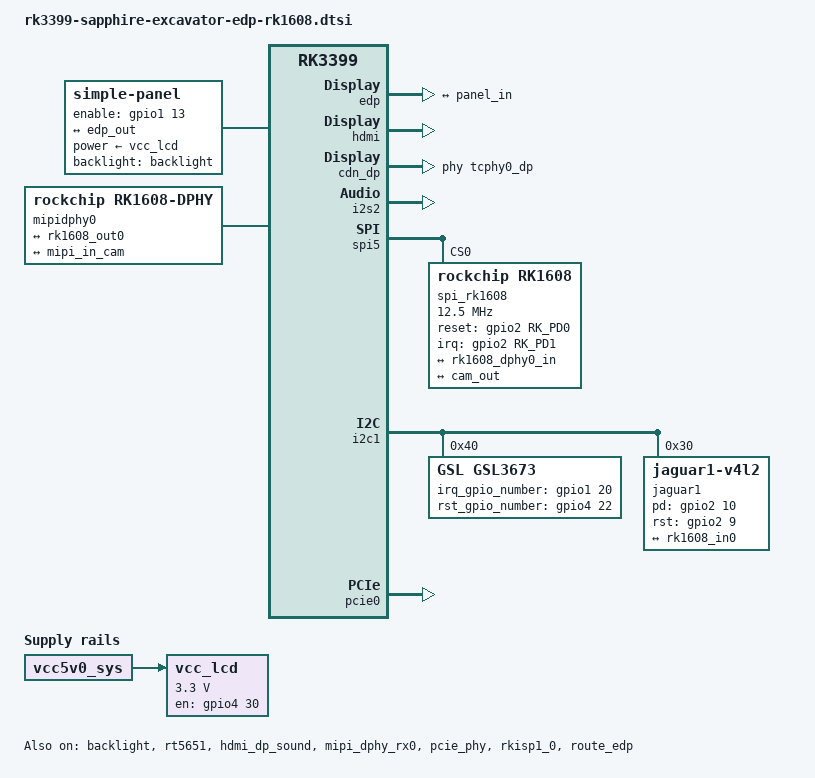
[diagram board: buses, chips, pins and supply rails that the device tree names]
// SPDX-License-Identifier: (GPL-2.0+ OR MIT)
/*
 * Copyright (c) 2019 Fuzhou Rockchip Electronics Co., Ltd.
 */

/dts-v1/;

#include "rk3399-excavator-sapphire.dtsi"
#include "rk3399-android.dtsi"
#include "rk3399-vop-clk-set.dtsi"

#define LINK_FREQ		375000000

/ {
	vcc_lcd: vcc-lcd {
		compatible = "regulator-fixed";
		regulator-name = "vcc_lcd";
		gpio = <&gpio4 30 GPIO_ACTIVE_HIGH>;
		startup-delay-us = <20000>;
		enable-active-high;
		regulator-min-microvolt = <3300000>;
		regulator-max-microvolt = <3300000>;
		regulator-boot-on;
		vin-supply = <&vcc5v0_sys>;
	};

	panel: panel {
		compatible = "simple-panel";
		backlight = <&backlight>;
		power-supply = <&vcc_lcd>;
		enable-gpios = <&gpio1 13 GPIO_ACTIVE_HIGH>;
		prepare-delay-ms = <20>;
		enable-delay-ms = <20>;

		display-timings {
			native-mode = <&timing0>;

			timing0: timing0 {
				clock-frequency = <200000000>;
				hactive = <1536>;
				vactive = <2048>;
				hfront-porch = <12>;
				hsync-len = <16>;
				hback-porch = <48>;
				vfront-porch = <8>;
				vsync-len = <4>;
				vback-porch = <8>;
				hsync-active = <0>;
				vsync-active = <0>;
				de-active = <0>;
				pixelclk-active = <0>;
			};
		};

		ports {
			panel_in: endpoint {
				remote-endpoint = <&edp_out>;
			};
		};
	};

	test-power {
		status = "okay";
	};

	rt5651-sound {
		status = "disabled";
	};

	hdmiin-sound {
		compatible = "rockchip,rockchip-rt5651-tc358749x-sound";
		rockchip,cpu = <&i2s0>;
		rockchip,codec = <&rt5651 &rt5651 &tc358749x>;
		status = "okay";
	};

	mipidphy0: mipidphy0 {
		compatible =  "rockchip,rk1608-dphy";
		status = "okay";
		rockchip,grf = <&grf>;
		id = <0>;
		cam_nums = <1>;
		in_mipi = <0>;
		out_mipi = <0>;
		link-freqs = /bits/ 64 <LINK_FREQ>;
		sensor_i2c_bus = <6>;
		sensor_i2c_addr = <0x1A>;
		sensor-name = "JASDAR";
		rockchip,camera-module-index = <0>;
		rockchip,camera-module-facing = "back";
		rockchip,camera-module-name = "PREISP";
		rockchip,camera-module-lens-name = "PREISP";

		format-config-0 {
			data_type = <0x1e>;
			mipi_lane = <4>;
			field = <1>;
			colorspace = <8>;
			code = <MEDIA_BUS_FMT_YVYU8_2X8>;
			width = <2560>;
			height= <1440>;

			hactive = <5120>;
			vactive = <1440>;
			htotal = <5800>;
			vtotal = <1800>;
			inch0-info = <2560 720 0x1e 0x2a 0x0F>;
			inch1-info = <2560 720 0x5e 0x2a 0x0F>;
			inch2-info = <2560 720 0x9e 0x2a 0x0F>;
			inch3-info = <2560 720 0xde 0x2a 0x0F>;
			outch0-info = <5120 1440 0x1e 0x2a 1>;
		};

		ports {
			#address-cells = <1>;
			#size-cells = <0>;
			port@0 {
				rk1608_dphy0_in: endpoint {
					remote-endpoint = <&rk1608_out0>;
				};
			};
			port@1 {
				rk1608_dphy_out: endpoint {
					remote-endpoint = <&mipi_in_cam>;
					clock-lanes = <0>;
					data-lanes = <1 2 3 4>;
					clock-noncontinuous;
					link-frequencies =
						/bits/ 64 <LINK_FREQ>;
				};
			};
		};
	};
};

&backlight {
	status = "okay";
	enable-gpios = <&gpio4 29 GPIO_ACTIVE_HIGH>;
};

&edp {
	status = "okay";
	force-hpd;

	ports {
		port@1 {
			reg = <1>;

			edp_out: endpoint {
				remote-endpoint = <&panel_in>;
			};
		};
	};
};

&edp_in_vopl {
	status = "disabled";
};

&hdmi {
	status = "okay";
};

&hdmi_in_vopb {
	status = "disabled";
};

&rt5651 {
	status = "okay";
};

&cdn_dp {
	status = "okay";
	extcon = <&fusb0>;
	phys = <&tcphy0_dp>;
};

&hdmi_dp_sound {
	status = "okay";
};

&dp_in_vopb {
	status = "disabled";
};

&i2s2 {
	status = "okay";
};

&spi5 {
	status = "okay";
	max-freq = <50000000>;
	pinctrl-names = "default";
	pinctrl-0 = <&spi5_clk &spi5_tx &spi5_rx &spi5_cs0>;

	spi_rk1608@00 {
		compatible =  "rockchip,rk1608";
		status = "okay";
		reg = <0>;
		spi-max-frequency = <12500000>;
		spi-min-frequency = <06250000>;

		clocks = <&cru SCLK_CIF_OUT>;
		clock-names = "mclk";

		firmware-names = "preisp_4in1.rkl";

		reset-gpios = <&gpio2 RK_PD0 GPIO_ACTIVE_HIGH>;
		irq-gpios = <&gpio2 RK_PD1 GPIO_ACTIVE_HIGH>;

		pinctrl-names = "default";
		pinctrl-0 = <&preisp_irq_gpios &preisp_reset_gpios>;

		power-domains = <&power RK3399_PD_SDIOAUDIO>;
		ports {
			#address-cells = <1>;
			#size-cells = <0>;
			port@0 {
				#address-cells = <1>;
				#size-cells = <0>;

				reg = <0>;
				rk1608_out0: endpoint@0 {
					reg = <0>;
					remote-endpoint = <&rk1608_dphy0_in>;
				};
			};

			port@1 {
				#address-cells = <1>;
				#size-cells = <0>;

				reg = <1>;
				rk1608_in0: endpoint@0 {
					reg = <0>;
					remote-endpoint = <&cam_out>;
				};
			};
		};
	};
};

&i2c1 {
	status = "okay";

	gsl3673: gsl3673@40 {
		compatible = "GSL,GSL3673";
		reg = <0x40>;
		screen_max_x = <1536>;
		screen_max_y = <2048>;
		irq_gpio_number = <&gpio1 20 IRQ_TYPE_LEVEL_LOW>;
		rst_gpio_number = <&gpio4 22 GPIO_ACTIVE_HIGH>;
	};

	tc358749x: tc358749x@0f {
		compatible = "toshiba,tc358749x";
		reg = <0x0f>;
		power-gpios = <&gpio2 6 GPIO_ACTIVE_HIGH>;
		power18-gpios = <&gpio2 9 GPIO_ACTIVE_HIGH>;
		power33-gpios = <&gpio2 5 GPIO_ACTIVE_HIGH>;
		csi-ctl-gpios = <&gpio2 10 GPIO_ACTIVE_HIGH>;
		stanby-gpios = <&gpio2 8 GPIO_ACTIVE_HIGH>;
		reset-gpios = <&gpio2 7 GPIO_ACTIVE_HIGH>;
		int-gpios = <&gpio2 12 GPIO_ACTIVE_HIGH>;
		pinctrl-names = "default";
		pinctrl-0 = <&hdmiin_gpios>;
		status = "disabled";
	};

	jaguar1: jaguar1@30 {
		compatible = "jaguar1-v4l2";
		status = "okay";
		reg = <0x30>;
		clocks = <&cru SCLK_CIF_OUT>;
		clock-names = "xvclk";
		pd-gpios = <&gpio2 10 GPIO_ACTIVE_HIGH>; // conflict with csi-ctl-gpios
		rst-gpios = <&gpio2 9 GPIO_ACTIVE_HIGH>;
		rockchip,camera-module-index = <0>;
		rockchip,camera-module-facing = "back";
		rockchip,camera-module-name = "jaguar1";
		rockchip,camera-module-lens-name = "jaguar1";
		port {
			cam_out: endpoint {
				remote-endpoint = <&rk1608_in0>;
				data-lanes = <1 2 3 4>;
			};
		};
	};
};

&i2c6 {
	cw2015@62 {
		status = "disabled";
		compatible = "cw201x";
		reg = <0x62>;
		bat_config_info = <0x15 0x42 0x60 0x59 0x52 0x58 0x4D 0x48
				   0x48 0x44 0x44 0x46 0x49 0x48 0x32 0x24
				   0x20 0x17 0x13 0x0F 0x19 0x3E 0x51 0x45
				   0x08 0x76 0x0B 0x85 0x0E 0x1C 0x2E 0x3E
				   0x4D 0x52 0x52 0x57 0x3D 0x1B 0x6A 0x2D
				   0x25 0x43 0x52 0x87 0x8F 0x91 0x94 0x52
				   0x82 0x8C 0x92 0x96 0xFF 0x7B 0xBB 0xCB
				   0x2F 0x7D 0x72 0xA5 0xB5 0xC1 0x46 0xAE>;
		monitor_sec = <5>;
		virtual_power = <0>;
	};
};

&isp0_mmu {
	status = "okay";
};

&isp1_mmu {
	status = "okay";
};

&mipi_dphy_rx0 {
	status = "okay";

	ports {
		#address-cells = <1>;
		#size-cells = <0>;

		port@0 {
			reg = <0>;
			#address-cells = <1>;
			#size-cells = <0>;

			mipi_in_cam: endpoint@1 {
				reg = <1>;
				remote-endpoint = <&rk1608_dphy_out>;
				data-lanes = <1 2 3 4>;
			};
		};

		port@1 {
			reg = <1>;
			#address-cells = <1>;
			#size-cells = <0>;

			dphy_rx0_out: endpoint@0 {
				reg = <0>;
				remote-endpoint = <&isp0_mipi_in>;
			};
		};
	};
};

&vopb {
	assigned-clocks = <&cru DCLK_VOP0_DIV>;
	assigned-clock-parents = <&cru PLL_CPLL>;
};

&vopl {
	assigned-clocks = <&cru DCLK_VOP1_DIV>;
	assigned-clock-parents = <&cru PLL_VPLL>;
};

&pcie_phy {
	status = "okay";
};

&pcie0 {
	status = "okay";
};

&rkisp1_0 {
	status = "okay";

	port {
		#address-cells = <1>;
		#size-cells = <0>;

		isp0_mipi_in: endpoint@0 {
			reg = <0>;
			remote-endpoint = <&dphy_rx0_out>;
		};
	};
};

&route_edp {
	status = "okay";
};

&pinctrl {
	lcd-panel {
		lcd_panel_reset: lcd-panel-reset {
			rockchip,pins = <4 30 RK_FUNC_GPIO &pcfg_pull_up>;
		};
	};

	hdmiin {
		hdmiin_gpios: hdmiin_gpios {
		rockchip,pins =
				<2 5 RK_FUNC_GPIO &pcfg_pull_none>,
				<2 6 RK_FUNC_GPIO &pcfg_pull_none>,
				<2 7 RK_FUNC_GPIO &pcfg_pull_none>,
				<2 8 RK_FUNC_GPIO &pcfg_pull_none>,
				<2 9 RK_FUNC_GPIO &pcfg_pull_none>,
				<2 12 RK_FUNC_GPIO &pcfg_pull_none>;
		};
	};

	preisp_reset_gpios {
		preisp_reset_gpios: preisp_reset_gpios {
			rockchip,pins = <2 RK_PD0 RK_FUNC_GPIO &pcfg_pull_none>;
		};
	};

	preisp_irq_gpios {
		preisp_irq_gpios: preisp_irq_gpios {
			rockchip,pins = <2 RK_PD1 RK_FUNC_GPIO &pcfg_pull_up>;
		};
	};
};

